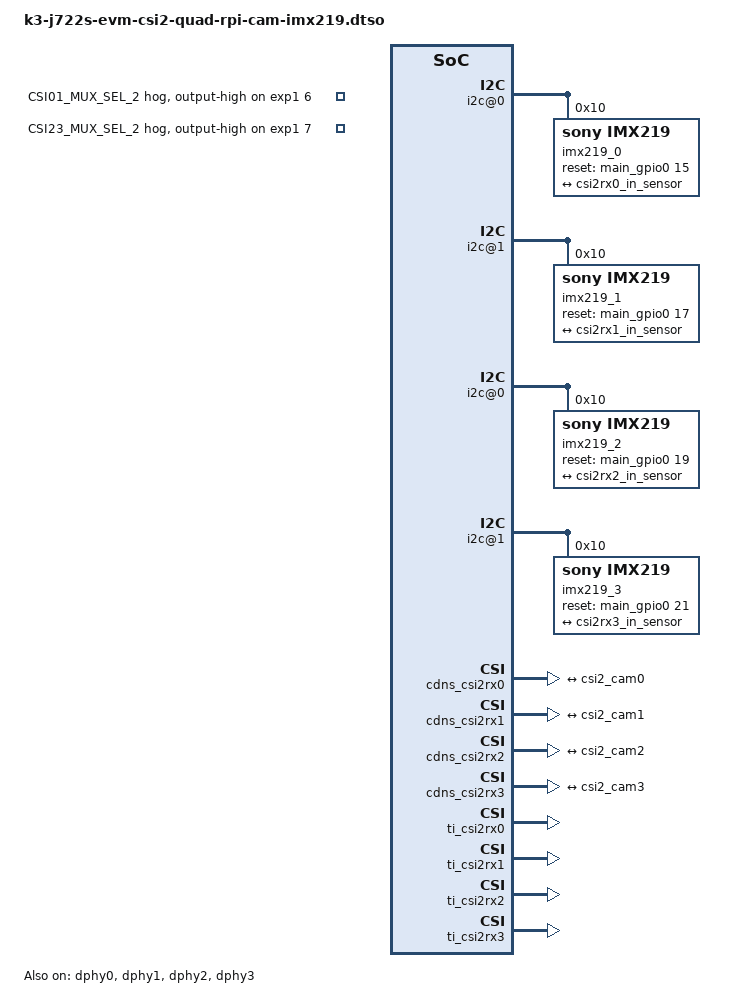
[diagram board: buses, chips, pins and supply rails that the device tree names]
// SPDX-License-Identifier: GPL-2.0
/*
 * DT Overlay for RPi Camera V2.1 on J722S-EVM board.
 *
 * Copyright (C) 2024 Texas Instruments Incorporated - https://www.ti.com/
 *
 * Schematics: https://datasheets.raspberrypi.com/camera/camera-v2-schematics.pdf
 */

/dts-v1/;
/plugin/;

#include <dt-bindings/gpio/gpio.h>
#include "k3-pinctrl.h"

&main_pmx0 {
	cam0_reset_pins_default: cam0-reset-pins-default {
		pinctrl-single,pins = <
			J722S_IOPAD(0x03c, PIN_OUTPUT, 7)
		>;
	};

	cam1_reset_pins_default: cam1-reset-pins-default {
		pinctrl-single,pins = <
			J722S_IOPAD(0x044, PIN_OUTPUT, 7)
		>;
	};

	cam2_reset_pins_default: cam2-reset-pins-default {
		pinctrl-single,pins = <
			J722S_IOPAD(0x04c, PIN_OUTPUT, 7)
		>;
	};

	cam3_reset_pins_default: cam3-reset-pins-default {
		pinctrl-single,pins = <
			J722S_IOPAD(0x054, PIN_OUTPUT, 7)
		>;
	};
};

&{/} {
	clk_imx219_fixed: imx219-xclk {
		compatible = "fixed-clock";
		#clock-cells = <0>;
		clock-frequency = <24000000>;
	};
};

&exp1 {
	p06-hog{
		/* P06 - CSI01_MUX_SEL_2 */
		gpio-hog;
		gpios = <6 GPIO_ACTIVE_HIGH>;
		output-high;
		line-name = "CSI01_MUX_SEL_2";
	};

	p07-hog{
		/* P01 - CSI23_MUX_SEL_2 */
		gpio-hog;
		gpios = <7 GPIO_ACTIVE_HIGH>;
		output-high;
		line-name = "CSI23_MUX_SEL_2";
	};
};

&pca9543_0 {
	#address-cells = <1>;
	#size-cells = <0>;

	i2c-alias-pool = /bits/ 16 <0x10 0x11>;

	/* CAM0 I2C */
	i2c@0 {
		#address-cells = <1>;
		#size-cells = <0>;
		reg = <0>;

		imx219_0: sensor@10 {
			compatible = "sony,imx219";
			reg = <0x10>;

			clocks = <&clk_imx219_fixed>;
			clock-names = "xclk";

			pinctrl-names = "default";
			pinctrl-0 = <&cam0_reset_pins_default>;

			reset-gpios = <&main_gpio0 15 GPIO_ACTIVE_HIGH>;

			port {
				csi2_cam0: endpoint {
					remote-endpoint = <&csi2rx0_in_sensor>;
					link-frequencies = /bits/ 64 <456000000>;
					clock-lanes = <0>;
					data-lanes = <1 2>;
				};
			};
		};
	};

	/* CAM1 I2C */
	i2c@1 {
		#address-cells = <1>;
		#size-cells = <0>;
		reg = <1>;

		imx219_1: sensor@10 {
			compatible = "sony,imx219";
			reg = <0x10>;

			clocks = <&clk_imx219_fixed>;
			clock-names = "xclk";

			pinctrl-names = "default";
			pinctrl-0 = <&cam1_reset_pins_default>;

			reset-gpios = <&main_gpio0 17 GPIO_ACTIVE_HIGH>;

			port {
				csi2_cam1: endpoint {
					remote-endpoint = <&csi2rx1_in_sensor>;
					link-frequencies = /bits/ 64 <456000000>;
					clock-lanes = <0>;
					data-lanes = <1 2>;
				};
			};
		};
	};
};

&pca9543_1 {
	#address-cells = <1>;
	#size-cells = <0>;

	i2c-alias-pool = /bits/ 16 <0x10 0x11>;

	/* CAM0 I2C */
	i2c@0 {
		#address-cells = <1>;
		#size-cells = <0>;
		reg = <0>;

		imx219_2: sensor@10 {
			compatible = "sony,imx219";
			reg = <0x10>;

			clocks = <&clk_imx219_fixed>;
			clock-names = "xclk";

			pinctrl-names = "default";
			pinctrl-0 = <&cam2_reset_pins_default>;

			reset-gpios = <&main_gpio0 19 GPIO_ACTIVE_HIGH>;

			port {
				csi2_cam2: endpoint {
					remote-endpoint = <&csi2rx2_in_sensor>;
					link-frequencies = /bits/ 64 <456000000>;
					clock-lanes = <0>;
					data-lanes = <1 2>;
				};
			};
		};
	};

	/* CAM1 I2C */
	i2c@1 {
		#address-cells = <1>;
		#size-cells = <0>;
		reg = <1>;

		imx219_3: sensor@10 {
			compatible = "sony,imx219";
			reg = <0x10>;

			clocks = <&clk_imx219_fixed>;
			clock-names = "xclk";

			pinctrl-names = "default";
			pinctrl-0 = <&cam3_reset_pins_default>;

			reset-gpios = <&main_gpio0 21 GPIO_ACTIVE_HIGH>;

			port {
				csi2_cam3: endpoint {
					remote-endpoint = <&csi2rx3_in_sensor>;
					link-frequencies = /bits/ 64 <456000000>;
					clock-lanes = <0>;
					data-lanes = <1 2>;
				};
			};
		};
	};
};

&cdns_csi2rx0 {
	ports {
		#address-cells = <1>;
		#size-cells = <0>;

		csi0_port0: port@0 {
			reg = <0>;
			status = "okay";

			csi2rx0_in_sensor: endpoint {
				remote-endpoint = <&csi2_cam0>;
				bus-type = <4>; /* CSI2 DPHY */
				clock-lanes = <0>;
				data-lanes = <1 2>;
			};
		};
	};
};

&cdns_csi2rx1 {
	ports {
		#address-cells = <1>;
		#size-cells = <0>;

		csi1_port0: port@0 {
			reg = <0>;
			status = "okay";

			csi2rx1_in_sensor: endpoint {
				remote-endpoint = <&csi2_cam1>;
				bus-type = <4>; /* CSI2 DPHY */
				clock-lanes = <0>;
				data-lanes = <1 2>;
			};
		};
	};
};

&cdns_csi2rx2 {
	ports {
		#address-cells = <1>;
		#size-cells = <0>;

		csi2_port0: port@0 {
			reg = <0>;
			status = "okay";

			csi2rx2_in_sensor: endpoint {
				remote-endpoint = <&csi2_cam2>;
				bus-type = <4>; /* CSI2 DPHY */
				clock-lanes = <0>;
				data-lanes = <1 2>;
			};
		};
	};
};

&cdns_csi2rx3 {
	ports {
		#address-cells = <1>;
		#size-cells = <0>;

		csi3_port0: port@0 {
			reg = <0>;
			status = "okay";

			csi2rx3_in_sensor: endpoint {
				remote-endpoint = <&csi2_cam3>;
				bus-type = <4>; /* CSI2 DPHY */
				clock-lanes = <0>;
				data-lanes = <1 2>;
			};
		};
	};
};

&ti_csi2rx0 {
	status = "okay";
};

&dphy0 {
	status = "okay";
};

&ti_csi2rx1 {
	status = "okay";
};

&dphy1 {
	status = "okay";
};

&ti_csi2rx2 {
	status = "okay";
};

&dphy2 {
	status = "okay";
};

&ti_csi2rx3 {
	status = "okay";
};

&dphy3 {
	status = "okay";
};
